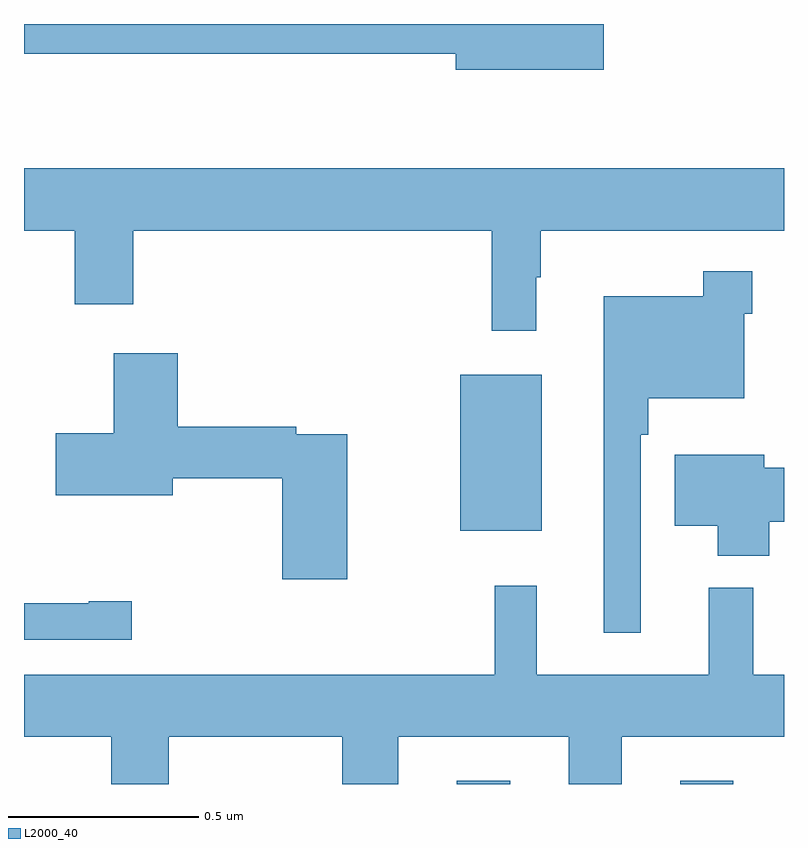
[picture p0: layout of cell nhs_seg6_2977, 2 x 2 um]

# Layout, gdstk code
import gdstk
lib = gdstk.Library(unit=1e-6, precision=1e-09)
def R(c, l, rs):  # rectangles x0, y0, x1, y1
    for r in rs: c.add(gdstk.rectangle(r[:2], r[2:], *l))
def P(c, l, *ps):  # polygons
    for p in ps: c.add(gdstk.Polygon(p, *l))
L2000_40 = (2000, 40)

nhs_seg6_2977 = lib.new_cell('nhs_seg6_2977')
R(nhs_seg6_2977, L2000_40, [(151.139,992.5,151.279,992.509), (151.727,992.5,151.867,992.509), (151.148,993.167,151.363,993.577)])
P(nhs_seg6_2977, L2000_40, [(151.525,994.5),(150,994.5),(150,994.422),(151.136,994.422),(151.136,994.379),(151.525,994.379)],
  [(151.348,993.833),(151.36,993.833),(151.36,993.956),(152,993.956),(152,994.12),(150,994.12),(150,993.956),(150.134,993.956),(150.134,993.762),(150.287,993.762),(150.287,993.956),(151.231,993.956),(151.231,993.693),(151.348,993.693)],
  [(151.623,993.419),(151.643,993.419),(151.643,993.515),(151.896,993.515),(151.896,993.737),(151.916,993.737),(151.916,993.85),(151.788,993.85),(151.788,993.784),(151.526,993.784),(151.526,992.898),(151.623,992.898)],
  [(150.85,993.42),(150.716,993.42),(150.716,993.44),(150.404,993.44),(150.404,993.634),(150.236,993.634),(150.236,993.423),(150.084,993.423),(150.084,993.26),(150.391,993.26),(150.391,993.304),(150.68,993.304),(150.68,993.039),(150.85,993.039)],
  [(151.961,993.19),(152,993.19),(152,993.332),(151.948,993.332),(151.948,993.367),(151.712,993.367),(151.712,993.179),(151.826,993.179),(151.826,993.101),(151.961,993.101)],
  [(150,992.624),(150.229,992.624),(150.229,992.5),(150.381,992.5),(150.381,992.624),(150.838,992.624),(150.838,992.5),(150.985,992.5),(150.985,992.624),(151.433,992.624),(151.433,992.5),(151.573,992.5),(151.573,992.624),(152,992.624),(152,992.788),(151.919,992.788),(151.919,993.016),(151.802,993.016),(151.802,992.788),(151.349,992.788),(151.349,993.022),(151.239,993.022),(151.239,992.788),(150,992.788)],
  [(150.283,992.981),(150.17,992.981),(150.17,992.976),(150,992.976),(150,992.88),(150.283,992.88)])

lib.write_gds('nhs_seg6_2977.gds')
